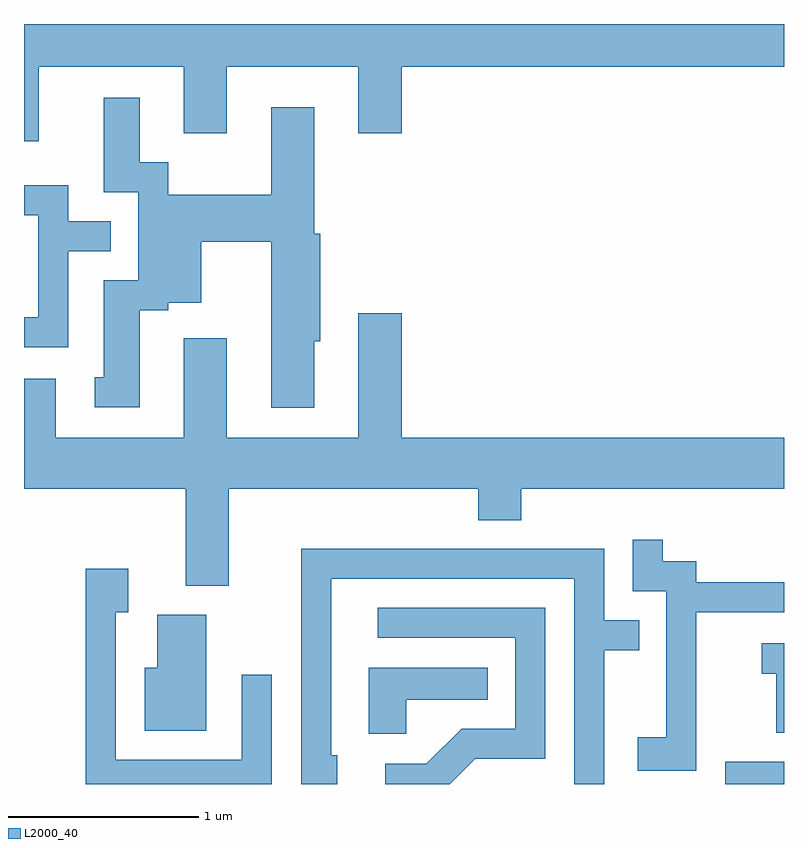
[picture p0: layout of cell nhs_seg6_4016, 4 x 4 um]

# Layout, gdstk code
import gdstk
lib = gdstk.Library(unit=1e-6, precision=1e-09)
def R(c, l, rs):  # rectangles x0, y0, x1, y1
    for r in rs: c.add(gdstk.rectangle(r[:2], r[2:], *l))
def P(c, l, *ps):  # polygons
    for p in ps: c.add(gdstk.Polygon(p, *l))
L2000_40 = (2000, 40)

nhs_seg6_4016 = lib.new_cell('nhs_seg6_4016')
R(nhs_seg6_4016, L2000_40, [(309.301,1646.162,309.611,1646.279)])
P(nhs_seg6_4016, L2000_40, [(305.689,1649.936),(306.451,1649.936),(306.451,1649.586),(306.679,1649.586),(306.679,1649.936),(307.371,1649.936),(307.371,1649.586),(307.599,1649.586),(307.599,1649.936),(309.611,1649.936),(309.611,1650.162),(305.611,1650.162),(305.611,1649.546),(305.689,1649.546)],
  [(307.139,1648.491),(307.169,1648.491),(307.169,1649.059),(307.139,1649.059),(307.139,1649.724),(306.911,1649.724),(306.911,1649.264),(306.369,1649.264),(306.369,1649.434),(306.219,1649.434),(306.219,1649.774),(306.031,1649.774),(306.031,1649.276),(306.211,1649.276),(306.211,1648.814),(306.031,1648.814),(306.031,1648.304),(305.983,1648.304),(305.983,1648.146),(306.219,1648.146),(306.219,1648.656),(306.369,1648.656),(306.369,1648.696),(306.544,1648.696),(306.544,1649.016),(306.911,1649.016),(306.911,1648.141),(307.139,1648.141)],
  [(305.844,1648.966),(306.068,1648.966),(306.068,1649.124),(305.844,1649.124),(305.844,1649.314),(305.611,1649.314),(305.611,1649.156),(305.686,1649.156),(305.686,1648.619),(305.611,1648.619),(305.611,1648.461),(305.844,1648.461)],
  [(306.689,1647.716),(308.001,1647.716),(308.001,1647.551),(308.229,1647.551),(308.229,1647.716),(309.611,1647.716),(309.611,1647.984),(307.599,1647.984),(307.599,1648.639),(307.371,1648.639),(307.371,1647.984),(306.679,1647.984),(306.679,1648.509),(306.451,1648.509),(306.451,1647.984),(305.779,1647.984),(305.779,1648.294),(305.611,1648.294),(305.611,1647.716),(306.461,1647.716),(306.461,1647.206),(306.689,1647.206)],
  [(309.149,1647.066),(309.611,1647.066),(309.611,1647.224),(309.149,1647.224),(309.149,1647.334),(308.974,1647.334),(308.974,1647.448),(308.816,1647.448),(308.816,1647.176),(308.991,1647.176),(308.991,1646.409),(308.841,1646.409),(308.841,1646.231),(309.149,1646.231)],
  [(307.259,1646.314),(307.229,1646.314),(307.229,1647.241),(308.506,1647.241),(308.506,1646.162),(308.664,1646.162),(308.664,1646.866),(308.848,1646.866),(308.848,1647.024),(308.664,1647.024),(308.664,1647.399),(307.071,1647.399),(307.071,1646.162),(307.259,1646.162)],
  [(306.914,1646.738),(306.756,1646.738),(306.756,1646.289),(306.094,1646.289),(306.094,1647.066),(306.159,1647.066),(306.159,1647.294),(305.936,1647.294),(305.936,1646.162),(306.914,1646.162)],
  [(307.987,1646.296),(308.354,1646.296),(308.354,1647.089),(307.473,1647.089),(307.473,1646.931),(308.196,1646.931),(308.196,1646.454),(307.914,1646.454),(307.729,1646.269),(307.513,1646.269),(307.513,1646.162),(307.853,1646.162)],
  [(306.569,1647.054),(306.311,1647.054),(306.311,1646.774),(306.246,1646.774),(306.246,1646.441),(306.569,1646.441)],
  [(309.611,1646.904),(309.493,1646.904),(309.493,1646.741),(309.571,1646.741),(309.571,1646.431),(309.611,1646.431)],
  [(307.624,1646.606),(308.053,1646.606),(308.053,1646.774),(307.426,1646.774),(307.426,1646.426),(307.624,1646.426)])

lib.write_gds('nhs_seg6_4016.gds')
